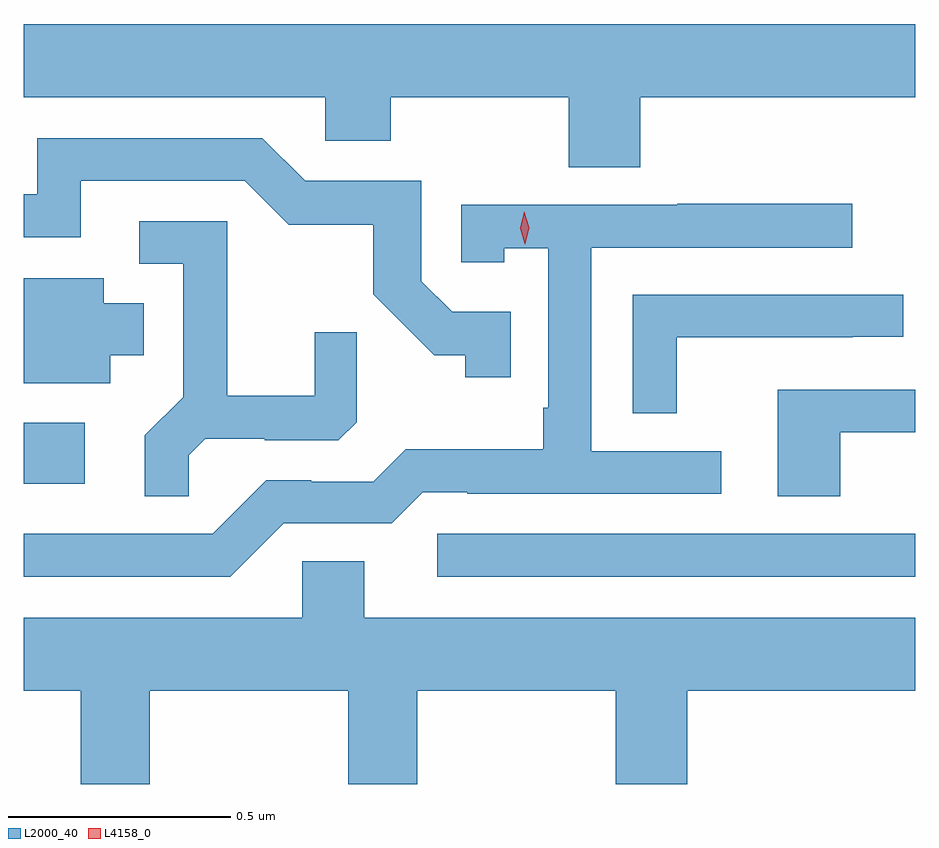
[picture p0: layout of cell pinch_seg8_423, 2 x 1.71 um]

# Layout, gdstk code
import gdstk
lib = gdstk.Library(unit=1e-6, precision=1e-09)
def R(c, l, rs):  # rectangles x0, y0, x1, y1
    for r in rs: c.add(gdstk.rectangle(r[:2], r[2:], *l))
def P(c, l, *ps):  # polygons
    for p in ps: c.add(gdstk.Polygon(p, *l))
L2000_40 = (2000, 40)
L4158_0 = (4158, 0)

pinch_seg8_423 = lib.new_cell('pinch_seg8_423')
R(pinch_seg8_423, L2000_40, [(360.063,1156.716,361.135,1156.812), (359.135,1156.925,359.272,1157.061)])
P(pinch_seg8_423, L2000_40, [(360.518,1157.792),(361.135,1157.792),(361.135,1157.956),(359.135,1157.956),(359.135,1157.792),(359.811,1157.792),(359.811,1157.694),(359.958,1157.694),(359.958,1157.792),(360.358,1157.792),(360.358,1157.635),(360.518,1157.635)],
  [(360.227,1157.31),(360.096,1157.31),(360.027,1157.379),(360.027,1157.604),(359.766,1157.604),(359.67,1157.7),(359.165,1157.7),(359.165,1157.574),(359.135,1157.574),(359.135,1157.478),(359.263,1157.478),(359.263,1157.604),(359.631,1157.604),(359.73,1157.506),(359.919,1157.506),(359.919,1157.35),(360.056,1157.213),(360.126,1157.213),(360.126,1157.163),(360.227,1157.163)],
  [(359.718,1156.836),(359.961,1156.836),(360.03,1156.905),(360.13,1156.905),(360.13,1156.902),(360.7,1156.902),(360.7,1156.998),(360.408,1156.998),(360.408,1157.454),(360.994,1157.454),(360.994,1157.553),(360.601,1157.553),(360.601,1157.55),(360.117,1157.55),(360.117,1157.421),(360.213,1157.421),(360.213,1157.453),(360.312,1157.453),(360.312,1157.095),(360.3,1157.095),(360.3,1157.002),(359.992,1157.002),(359.919,1156.929),(359.78,1156.929),(359.78,1156.932),(359.679,1156.932),(359.559,1156.812),(359.135,1156.812),(359.135,1156.716),(359.598,1156.716)],
  [(359.505,1156.988),(359.542,1157.025),(359.676,1157.025),(359.676,1157.022),(359.841,1157.022),(359.882,1157.063),(359.882,1157.265),(359.788,1157.265),(359.788,1157.122),(359.591,1157.122),(359.591,1157.514),(359.394,1157.514),(359.394,1157.418),(359.493,1157.418),(359.493,1157.119),(359.407,1157.033),(359.407,1156.897),(359.505,1156.897)],
  [(359.329,1157.213),(359.404,1157.213),(359.404,1157.329),(359.314,1157.329),(359.314,1157.386),(359.135,1157.386),(359.135,1157.15),(359.329,1157.15)],
  [(360.6,1157.253),(360.995,1157.253),(360.995,1157.254),(361.108,1157.254),(361.108,1157.349),(360.501,1157.349),(360.501,1157.083),(360.6,1157.083)],
  [(360.967,1157.04),(361.135,1157.04),(361.135,1157.136),(360.827,1157.136),(360.827,1156.897),(360.967,1156.897)],
  [(359.863,1156.251),(360.018,1156.251),(360.018,1156.46),(360.463,1156.46),(360.463,1156.251),(360.623,1156.251),(360.623,1156.46),(361.135,1156.46),(361.135,1156.624),(359.899,1156.624),(359.899,1156.751),(359.76,1156.751),(359.76,1156.624),(359.135,1156.624),(359.135,1156.46),(359.263,1156.46),(359.263,1156.251),(359.418,1156.251),(359.418,1156.46),(359.863,1156.46)])
P(pinch_seg8_423, L4158_0, [(360.26,1157.462),(360.259,1157.463),(360.249,1157.498),(360.258,1157.535),(360.258,1157.535),(360.258,1157.535),(360.269,1157.499),(360.26,1157.463)])

lib.write_gds('pinch_seg8_423.gds')
